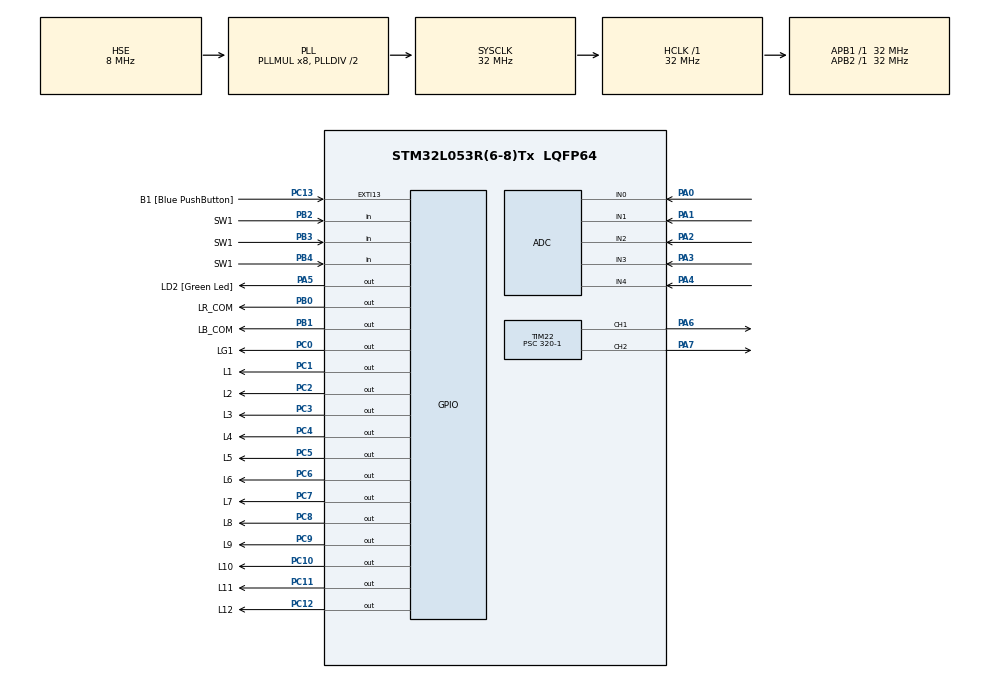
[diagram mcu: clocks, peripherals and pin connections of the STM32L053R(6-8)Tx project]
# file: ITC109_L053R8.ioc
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ADC.ClockPrescaler=ADC_CLOCK_ASYNC_DIV8
ADC.ContinuousConvMode=ENABLE
ADC.DMAContinuousRequests=ENABLE
ADC.DiscontinuousConvMode=DISABLE
ADC.SamplingTime=ADC_SAMPLETIME_19CYCLES_5
Dma.ADC.0.Direction=DMA_PERIPH_TO_MEMORY
Dma.ADC.0.Instance=DMA1_Channel1
Dma.ADC.0.MemDataAlignment=DMA_MDATAALIGN_HALFWORD
Dma.ADC.0.MemInc=DMA_MINC_ENABLE
Dma.ADC.0.Mode=DMA_CIRCULAR
Dma.ADC.0.PeriphDataAlignment=DMA_PDATAALIGN_HALFWORD
Dma.ADC.0.PeriphInc=DMA_PINC_DISABLE
Dma.ADC.0.Priority=DMA_PRIORITY_LOW
Dma.Request0=ADC
Mcu.Family=STM32L0
Mcu.Name=STM32L053R(6-8)Tx
Mcu.Package=LQFP64
NVIC.DMA1_Channel1_IRQn=true\:0\:0\:true\:false\:true\:false\:true\:true
NVIC.TIM6_DAC_IRQn=true\:0\:0\:true\:false\:true\:true\:true\:true
PA0.Mode=IN0
PA0.Signal=ADC_IN0
PA1.Mode=IN1
PA1.Signal=ADC_IN1
PA13.GPIO_Label=TMS
PA13.Mode=Serial_Wire
PA13.Signal=SYS_SWDIO
PA14.GPIO_Label=TCK
PA14.Mode=Serial_Wire
PA14.Signal=SYS_SWCLK
PA2.Mode=IN2
PA2.Signal=ADC_IN2
PA3.Mode=IN3
PA3.Signal=ADC_IN3
PA4.Mode=IN4
PA4.Signal=ADC_IN4
PA5.GPIO_Label=LD2 [Green Led]
PA5.Signal=GPIO_Output
PA6.Signal=S_TIM22_CH1
PA7.Signal=S_TIM22_CH2
PB0.GPIO_Label=LR_COM
PB0.Signal=GPIO_Output
PB1.GPIO_Label=LB_COM
PB1.Signal=GPIO_Output
PB2.GPIO_Label=SW1
PB2.GPIO_Mode=GPIO_MODE_INPUT
PB2.GPIO_PuPd=GPIO_PULLDOWN
PB2.Signal=GPIO_Input
PB3.GPIO_Label=SW1
PB3.GPIO_Mode=GPIO_MODE_INPUT
PB3.GPIO_PuPd=GPIO_PULLDOWN
PB3.Signal=GPIO_Input
PB4.GPIO_Label=SW1
PB4.GPIO_Mode=GPIO_MODE_INPUT
PB4.GPIO_PuPd=GPIO_PULLDOWN
PB4.Signal=GPIO_Input
PC0.GPIO_Label=LG1
PC0.PinState=GPIO_PIN_SET
PC0.Signal=GPIO_Output
PC1.GPIO_Label=L1
PC1.Signal=GPIO_Output
PC10.GPIO_Label=L10
PC10.Signal=GPIO_Output
PC11.GPIO_Label=L11
PC11.Signal=GPIO_Output
PC12.GPIO_Label=L12
PC12.Signal=GPIO_Output
PC13.GPIO_Label=B1 [Blue PushButton]
PC13.GPIO_ModeDefaultEXTI=GPIO_MODE_IT_FALLING
PC13.Signal=GPXTI13
PC14-OSC32_IN.Mode=LSE-External-Oscillator
PC14-OSC32_IN.Signal=RCC_OSC32_IN
PC15-OSC32_OUT.Mode=LSE-External-Oscillator
PC15-OSC32_OUT.Signal=RCC_OSC32_OUT
PC2.GPIO_Label=L2
PC2.Signal=GPIO_Output
PC3.GPIO_Label=L3
PC3.Signal=GPIO_Output
PC4.GPIO_Label=L4
PC4.Signal=GPIO_Output
PC5.GPIO_Label=L5
PC5.Signal=GPIO_Output
PC6.GPIO_Label=L6
PC6.Signal=GPIO_Output
PC7.GPIO_Label=L7
PC7.Signal=GPIO_Output
PC8.GPIO_Label=L8
PC8.Signal=GPIO_Output
PC9.GPIO_Label=L9
PC9.Signal=GPIO_Output
PH0-OSC_IN.Mode=HSE-External-Clock-Source
PH0-OSC_IN.Signal=RCC_OSC_IN
PH1-OSC_OUT.Signal=RCC_OSC_OUT
ProjectManager.HeapSize=0x200
ProjectManager.StackSize=0x400
ProjectManager.TargetToolchain=MDK-ARM V5.32
RCC.AHBFreq_Value=32000000
RCC.APB1Freq_Value=32000000
RCC.APB1TimFreq_Value=32000000
RCC.APB2Freq_Value=32000000
RCC.APB2TimFreq_Value=32000000
RCC.HCLKFreq_Value=32000000
RCC.HSE_VALUE=8000000
RCC.HSI16_VALUE=16000000
RCC.HSI48_VALUE=48000000
RCC.HSI_VALUE=16000000
RCC.MSI_VALUE=2097000
RCC.PLLMUL=RCC_PLLMUL_8
RCC.PLLSourceVirtual=RCC_PLLSOURCE_HSE
RCC.SYSCLKFreq_VALUE=32000000
RCC.SYSCLKSource=RCC_SYSCLKSOURCE_PLLCLK
RCC.VCOOutputFreq_Value=64000000
SH.S_TIM22_CH1.0=TIM22_CH1,PWM Generation1 CH1
SH.S_TIM22_CH2.0=TIM22_CH2,PWM Generation2 CH2
TIM22.Channel-Input_Capture2_from_TI2=TIM_CHANNEL_2
TIM22.Channel-PWM\ Generation1\ CH1=TIM_CHANNEL_1
TIM22.Channel-PWM\ Generation2\ CH2=TIM_CHANNEL_2
TIM22.Period=1000-1
TIM22.Prescaler=320-1
TIM6.Period=100-1
TIM6.Prescaler=32-1
VP_TIM22_VS_ClockSourceINT.Mode=Internal
VP_TIM6_VS_ClockSourceINT.Mode=Enable_Timer
board=NUCLEO-L053R8

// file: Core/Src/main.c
/* USER CODE BEGIN Header */
/**
 ******************************************************************************
 * @file           : main.c
 * @brief          : Main program body
 ******************************************************************************
 * @attention
 *
 * Copyright (c) 2025 STMicroelectronics.
 * All rights reserved.
 *
 * This software is licensed under terms that can be found in the LICENSE file
 * in the root directory of this software component.
 * If no LICENSE file comes with this software, it is provided AS-IS.
 *
 ******************************************************************************
 */
/* USER CODE END Header */
#include "main.h"

/* USER CODE BEGIN Includes */
#include <math.h>
/* USER CODE END Includes */

/* USER CODE BEGIN PD */
#define SW1_IDR ((GPIOB->IDR >> 2) & 0x7)
// #define SET_LED(port, mask, status)

uint8_t mode, old_mode;
uint16_t led_r, led_b, led_g;
uint8_t node_mode;
uint8_t software_pwm_count, software_pwm_th;

__IO uint16_t time_count1, time_count2;
__IO uint8_t display_count = 0;
uint8_t display_index;
/* USER CODE END PD */

ADC_HandleTypeDef hadc;
DMA_HandleTypeDef hdma_adc;

TIM_HandleTypeDef htim6;
TIM_HandleTypeDef htim22;

void SystemClock_Config(void);
static void MX_GPIO_Init(void);
static void MX_DMA_Init(void);
static void MX_ADC_Init(void);
static void MX_TIM6_Init(void);
static void MX_TIM22_Init(void);

/* USER CODE BEGIN 0 */
uint16_t adc[5];
/* USER CODE END 0 */

int main(void) {

  /* MCU Configuration--------------------------------------------------------*/

  /* Reset of all peripherals, Initializes the Flash interface and the Systick.
   */
  HAL_Init();

  /* Configure the system clock */
  SystemClock_Config();

  /* Initialize all configured peripherals */
  MX_GPIO_Init();
  MX_DMA_Init();
  MX_ADC_Init();
  MX_TIM6_Init();
  MX_TIM22_Init();
  /* USER CODE BEGIN 2 */
  HAL_TIM_Base_Start_IT(&htim6);
  // HAL_TIM_PWM_Start(&htim22, TIM_CHANNEL_1);

  HAL_ADCEx_Calibration_Start(&hadc, ADC_SINGLE_ENDED);
  HAL_ADC_Start_DMA(&hadc, (uint32_t *)adc, 5);
  /* USER CODE END 2 */

  /* Infinite loop */
  /* USER CODE BEGIN WHILE */
  while (1) {
    mode = SW1_IDR;
    if (mode != old_mode) {
      led_b = led_r = 0;
      old_mode = mode;
      time_count1 = 0;

      switch (mode) {
        case 1: {
          led_b = 1 << 5;
          led_r = 1 << (5 - 1);
        } break;
        case 2: {
          GPIOC->ODR = 1;
        } break;
      }
    }

    switch (mode) {
      case 1: {
        if (!time_count1) {
          time_count1 = 1000 * 10;

          led_r <<= 1;
          if (led_r >> 12) led_r = 1;
          else if (led_r >> 11) led_b <<= 1;
          if (led_b >> 12) led_b = 1;
        }
      } break;

      case 2: {
        if (!time_count1) {
          software_pwm_count = (software_pwm_count + 1) % 10;
          time_count1 = 1;
        }

        if (!time_count2) {
          if (node_mode % 2) {
            software_pwm_th++;
            if (software_pwm_th > 10) node_mode++;
          } else {
            software_pwm_th--;
            if (software_pwm_th == 0xff) {
              node_mode++;
              software_pwm_th = 0;
            }
          }
          node_mode %= 5;
          time_count2 = 100 * 10;
        }

        uint8_t status1 = node_mode > 2;  // 0, 1
        uint8_t status2 = software_pwm_count < software_pwm_th;
        HAL_GPIO_WritePin(GPIOB, GPIO_PIN_0, !status1 && status2);
        HAL_GPIO_WritePin(GPIOB, GPIO_PIN_1, status1 && status2);
        // led_r = software_pwm_count > software_pwm_th ? 0xfff : 0;
      } break;

      case 3: {
        int x_g = (adc[0] - 0x800) / 10;  // (1.65 * 4086) / 3.3 = 2048

        led_r = led_b = led_g = 0;
        if (x_g < -7) led_r = 1 << 2;
        else if (x_g < -3) led_b = 1 << 2;
        else if (x_g < 3) led_g = 1;
        else if (x_g < 7) led_b = 1 << 8;
        else led_r = 1 << 8;
      } break;

      case 4: {
        int g = (adc[3] - 0x800) / 10;
        int x_g = (adc[0] - 0x800) / 10;  // (1.65 * 4086) / 3.3 = 2048

        led_r = led_b = led_g = 0;
        double theta = atan2(x_g, g);
        theta = theta / 3.1415826 * 180;
        if (theta < 0.8) led_r = 1 << 8;
        else if (theta < 1.2) led_b = 1 << 8;
        else if (theta < 2.0) led_g = 1;
        else if (theta < 2.4) led_b = 1 << 2;
        else led_r = 1 << 2;
      } break;

      case 5:
      case 6: {
        int x_g = (adc[0] - 0x800) / 10;  // (1.65 * 4086) / 3.3 = 2048
        int y_g = (adc[1] - 0x800) / 10;  // (1.65 * 4086) / 3.3 = 2048
        double xy_g = sqrt(pow(x_g, 2) + pow(y_g, 2));
        int angle = atan(y_g / x_g) * 100;  // arctan ?

        led_r = led_b = led_g = 0;
        if (xy_g < 3) led_g = 1;
        else {
          int value = 0;
          if (angle < -15)
            ;
          else if (angle < 15) value = 2;
          else if (angle < 45) value = 1;
          else if (angle < 75) value = 0;
          else if (angle < 105) value = 11;
          else if (angle < 135) value = 10;
          else if (angle < 165) value = 9;
          else if (angle < 195) value = 8;
          else if (angle < 225) value = 7;
          else if (angle < 255) value = 6;
          else if (angle < 285) value = 5;
          else if (angle < 315) value = 4;
          else if (angle < 345) value = 3;

          if (xy_g < 7) led_b = 1 << value;
          else led_r = 1 << value;
        }

        if (mode == 6) {
          led_r |= 1;
          led_b |= 1;
        }
      } break;
    }

    if (!display_count && mode != 2) {
      HAL_GPIO_WritePin(GPIOB, GPIO_PIN_0, display_index);   // LR
      HAL_GPIO_WritePin(GPIOB, GPIO_PIN_1, !display_index);  // LB
      GPIOC->ODR = (~(display_index ? led_r : led_b) & 0xfff) << 1 | !led_g;
      display_index = !display_index;
      display_count = 10 * 10;
    }
    /* USER CODE END WHILE */

  }
}

void SystemClock_Config(void) {
  RCC_OscInitTypeDef RCC_OscInitStruct = {0};
  RCC_ClkInitTypeDef RCC_ClkInitStruct = {0};

  /** Configure the main internal regulator output voltage
   */
  __HAL_PWR_VOLTAGESCALING_CONFIG(PWR_REGULATOR_VOLTAGE_SCALE1);

  /** Initializes the RCC Oscillators according to the specified parameters
   * in the RCC_OscInitTypeDef structure.
   */
  RCC_OscInitStruct.OscillatorType =
      RCC_OSCILLATORTYPE_HSI | RCC_OSCILLATORTYPE_HSE;
  RCC_OscInitStruct.HSEState = RCC_HSE_BYPASS;
  RCC_OscInitStruct.HSIState = RCC_HSI_ON;
  RCC_OscInitStruct.HSICalibrationValue = RCC_HSICALIBRATION_DEFAULT;
  RCC_OscInitStruct.PLL.PLLState = RCC_PLL_ON;
  RCC_OscInitStruct.PLL.PLLSource = RCC_PLLSOURCE_HSE;
  RCC_OscInitStruct.PLL.PLLMUL = RCC_PLLMUL_8;
  RCC_OscInitStruct.PLL.PLLDIV = RCC_PLLDIV_2;
  if (HAL_RCC_OscConfig(&RCC_OscInitStruct) != HAL_OK) {
    Error_Handler();
  }

  /** Initializes the CPU, AHB and APB buses clocks
   */
  RCC_ClkInitStruct.ClockType = RCC_CLOCKTYPE_HCLK | RCC_CLOCKTYPE_SYSCLK |
                                RCC_CLOCKTYPE_PCLK1 | RCC_CLOCKTYPE_PCLK2;
  RCC_ClkInitStruct.SYSCLKSource = RCC_SYSCLKSOURCE_PLLCLK;
  RCC_ClkInitStruct.AHBCLKDivider = RCC_SYSCLK_DIV1;
  RCC_ClkInitStruct.APB1CLKDivider = RCC_HCLK_DIV1;
  RCC_ClkInitStruct.APB2CLKDivider = RCC_HCLK_DIV1;

  if (HAL_RCC_ClockConfig(&RCC_ClkInitStruct, FLASH_LATENCY_1) != HAL_OK) {
    Error_Handler();
  }
}

static void MX_ADC_Init(void) {

  ADC_ChannelConfTypeDef sConfig = {0};

  /** Configure the global features of the ADC (Clock, Resolution, Data
   * Alignment and number of conversion)
   */
  hadc.Instance = ADC1;
  hadc.Init.OversamplingMode = DISABLE;
  hadc.Init.ClockPrescaler = ADC_CLOCK_ASYNC_DIV8;
  hadc.Init.Resolution = ADC_RESOLUTION_12B;
  hadc.Init.SamplingTime = ADC_SAMPLETIME_19CYCLES_5;
  hadc.Init.ScanConvMode = ADC_SCAN_DIRECTION_FORWARD;
  hadc.Init.DataAlign = ADC_DATAALIGN_RIGHT;
  hadc.Init.ContinuousConvMode = ENABLE;
  hadc.Init.DiscontinuousConvMode = DISABLE;
  hadc.Init.ExternalTrigConvEdge = ADC_EXTERNALTRIGCONVEDGE_NONE;
  hadc.Init.ExternalTrigConv = ADC_SOFTWARE_START;
  hadc.Init.DMAContinuousRequests = ENABLE;
  hadc.Init.EOCSelection = ADC_EOC_SINGLE_CONV;
  hadc.Init.Overrun = ADC_OVR_DATA_PRESERVED;
  hadc.Init.LowPowerAutoWait = DISABLE;
  hadc.Init.LowPowerFrequencyMode = ENABLE;
  hadc.Init.LowPowerAutoPowerOff = DISABLE;
  if (HAL_ADC_Init(&hadc) != HAL_OK) {
    Error_Handler();
  }

  /** Configure for the selected ADC regular channel to be converted.
   */
  sConfig.Channel = ADC_CHANNEL_0;
  sConfig.Rank = ADC_RANK_CHANNEL_NUMBER;
  if (HAL_ADC_ConfigChannel(&hadc, &sConfig) != HAL_OK) {
    Error_Handler();
  }

  /** Configure for the selected ADC regular channel to be converted.
   */
  sConfig.Channel = ADC_CHANNEL_1;
  if (HAL_ADC_ConfigChannel(&hadc, &sConfig) != HAL_OK) {
    Error_Handler();
  }

  /** Configure for the selected ADC regular channel to be converted.
   */
  sConfig.Channel = ADC_CHANNEL_2;
  if (HAL_ADC_ConfigChannel(&hadc, &sConfig) != HAL_OK) {
    Error_Handler();
  }

  /** Configure for the selected ADC regular channel to be converted.
   */
  sConfig.Channel = ADC_CHANNEL_3;
  if (HAL_ADC_ConfigChannel(&hadc, &sConfig) != HAL_OK) {
    Error_Handler();
  }

  /** Configure for the selected ADC regular channel to be converted.
   */
  sConfig.Channel = ADC_CHANNEL_4;
  if (HAL_ADC_ConfigChannel(&hadc, &sConfig) != HAL_OK) {
    Error_Handler();
  }
}

static void MX_TIM6_Init(void) {

  TIM_MasterConfigTypeDef sMasterConfig = {0};

  htim6.Instance = TIM6;
  htim6.Init.Prescaler = 32 - 1;
  htim6.Init.CounterMode = TIM_COUNTERMODE_UP;
  htim6.Init.Period = 100 - 1;
  htim6.Init.AutoReloadPreload = TIM_AUTORELOAD_PRELOAD_DISABLE;
  if (HAL_TIM_Base_Init(&htim6) != HAL_OK) {
    Error_Handler();
  }
  sMasterConfig.MasterOutputTrigger = TIM_TRGO_RESET;
  sMasterConfig.MasterSlaveMode = TIM_MASTERSLAVEMODE_DISABLE;
  if (HAL_TIMEx_MasterConfigSynchronization(&htim6, &sMasterConfig) != HAL_OK) {
    Error_Handler();
  }
}

static void MX_TIM22_Init(void) {

  TIM_ClockConfigTypeDef sClockSourceConfig = {0};
  TIM_MasterConfigTypeDef sMasterConfig = {0};
  TIM_OC_InitTypeDef sConfigOC = {0};

  htim22.Instance = TIM22;
  htim22.Init.Prescaler = 320 - 1;
  htim22.Init.CounterMode = TIM_COUNTERMODE_UP;
  htim22.Init.Period = 1000 - 1;
  htim22.Init.ClockDivision = TIM_CLOCKDIVISION_DIV1;
  htim22.Init.AutoReloadPreload = TIM_AUTORELOAD_PRELOAD_DISABLE;
  if (HAL_TIM_Base_Init(&htim22) != HAL_OK) {
    Error_Handler();
  }
  sClockSourceConfig.ClockSource = TIM_CLOCKSOURCE_INTERNAL;
  if (HAL_TIM_ConfigClockSource(&htim22, &sClockSourceConfig) != HAL_OK) {
    Error_Handler();
  }
  if (HAL_TIM_PWM_Init(&htim22) != HAL_OK) {
    Error_Handler();
  }
  sMasterConfig.MasterOutputTrigger = TIM_TRGO_RESET;
  sMasterConfig.MasterSlaveMode = TIM_MASTERSLAVEMODE_DISABLE;
  if (HAL_TIMEx_MasterConfigSynchronization(&htim22, &sMasterConfig) !=
      HAL_OK) {
    Error_Handler();
  }
  sConfigOC.OCMode = TIM_OCMODE_PWM1;
  sConfigOC.Pulse = 0;
  sConfigOC.OCPolarity = TIM_OCPOLARITY_HIGH;
  sConfigOC.OCFastMode = TIM_OCFAST_DISABLE;
  if (HAL_TIM_PWM_ConfigChannel(&htim22, &sConfigOC, TIM_CHANNEL_1) != HAL_OK) {
    Error_Handler();
  }
  if (HAL_TIM_PWM_ConfigChannel(&htim22, &sConfigOC, TIM_CHANNEL_2) != HAL_OK) {
    Error_Handler();
  }
  HAL_TIM_MspPostInit(&htim22);
}

static void MX_DMA_Init(void) {
  /* DMA controller clock enable */
  __HAL_RCC_DMA1_CLK_ENABLE();

  /* DMA interrupt init */
  /* DMA1_Channel1_IRQn interrupt configuration */
  HAL_NVIC_SetPriority(DMA1_Channel1_IRQn, 0, 0);
  HAL_NVIC_EnableIRQ(DMA1_Channel1_IRQn);
}

static void MX_GPIO_Init(void) {
  GPIO_InitTypeDef GPIO_InitStruct = {0};

  /* GPIO Ports Clock Enable */
  __HAL_RCC_GPIOC_CLK_ENABLE();
  __HAL_RCC_GPIOH_CLK_ENABLE();
  __HAL_RCC_GPIOA_CLK_ENABLE();
  __HAL_RCC_GPIOB_CLK_ENABLE();

  /*Configure GPIO pin Output Level */
  HAL_GPIO_WritePin(LG1_GPIO_Port, LG1_Pin, GPIO_PIN_SET);

  /*Configure GPIO pin Output Level */
  HAL_GPIO_WritePin(GPIOC,
                    L1_Pin | L2_Pin | L3_Pin | L4_Pin | L5_Pin | L6_Pin |
                        L7_Pin | L8_Pin | L9_Pin | L10_Pin | L11_Pin | L12_Pin,
                    GPIO_PIN_RESET);

  /*Configure GPIO pin Output Level */
  HAL_GPIO_WritePin(LD2_GPIO_Port, LD2_Pin, GPIO_PIN_RESET);

  /*Configure GPIO pin Output Level */
  HAL_GPIO_WritePin(GPIOB, LR_COM_Pin | LB_COM_Pin, GPIO_PIN_RESET);

  /*Configure GPIO pin : B1_Pin */
  GPIO_InitStruct.Pin = B1_Pin;
  GPIO_InitStruct.Mode = GPIO_MODE_IT_FALLING;
  GPIO_InitStruct.Pull = GPIO_NOPULL;
  HAL_GPIO_Init(B1_GPIO_Port, &GPIO_InitStruct);

  /*Configure GPIO pins : LG1_Pin L1_Pin L2_Pin L3_Pin
                           L4_Pin L5_Pin L6_Pin L7_Pin
                           L8_Pin L9_Pin L10_Pin L11_Pin
                           L12_Pin */
  GPIO_InitStruct.Pin = LG1_Pin | L1_Pin | L2_Pin | L3_Pin | L4_Pin | L5_Pin |
                        L6_Pin | L7_Pin | L8_Pin | L9_Pin | L10_Pin | L11_Pin |
                        L12_Pin;
  GPIO_InitStruct.Mode = GPIO_MODE_OUTPUT_PP;
  GPIO_InitStruct.Pull = GPIO_NOPULL;
  GPIO_InitStruct.Speed = GPIO_SPEED_FREQ_LOW;
  HAL_GPIO_Init(GPIOC, &GPIO_InitStruct);

  /*Configure GPIO pin : LD2_Pin */
  GPIO_InitStruct.Pin = LD2_Pin;
  GPIO_InitStruct.Mode = GPIO_MODE_OUTPUT_PP;
  GPIO_InitStruct.Pull = GPIO_NOPULL;
  GPIO_InitStruct.Speed = GPIO_SPEED_FREQ_LOW;
  HAL_GPIO_Init(LD2_GPIO_Port, &GPIO_InitStruct);

  /*Configure GPIO pins : LR_COM_Pin LB_COM_Pin */
  GPIO_InitStruct.Pin = LR_COM_Pin | LB_COM_Pin;
  GPIO_InitStruct.Mode = GPIO_MODE_OUTPUT_PP;
  GPIO_InitStruct.Pull = GPIO_NOPULL;
  GPIO_InitStruct.Speed = GPIO_SPEED_FREQ_LOW;
  HAL_GPIO_Init(GPIOB, &GPIO_InitStruct);

  /*Configure GPIO pins : SW1_Pin SW1B3_Pin SW1B4_Pin */
  GPIO_InitStruct.Pin = SW1_Pin | SW1B3_Pin | SW1B4_Pin;
  GPIO_InitStruct.Mode = GPIO_MODE_INPUT;
  GPIO_InitStruct.Pull = GPIO_PULLDOWN;
  HAL_GPIO_Init(GPIOB, &GPIO_InitStruct);

}

/* USER CODE BEGIN 4 */
void HAL_TIM_PeriodElapsedCallback(TIM_HandleTypeDef *htim) {
  if (htim->Instance == TIM6) {
    if (time_count1 > 0) time_count1--;
    if (time_count2 > 0) time_count2--;
    if (display_count > 0) display_count--;
  }
}
/* USER CODE END 4 */

void Error_Handler(void) {
  __disable_irq();
  while (1) {
  }
}

#ifdef USE_FULL_ASSERT
/**
 * @brief  Reports the name of the source file and the source line number
 *         where the assert_param error has occurred.
 * @param  file: pointer to the source file name
 * @param  line: assert_param error line source number
 * @retval None
 */
void assert_failed(uint8_t *file, uint32_t line) {
  /* USER CODE BEGIN 6 */
  /* User can add his own implementation to report the file name and line
     number, ex: printf("Wrong parameters value: file %s on line %d\r\n", file,
     line) */
  /* USER CODE END 6 */
}
#endif /* USE_FULL_ASSERT */
